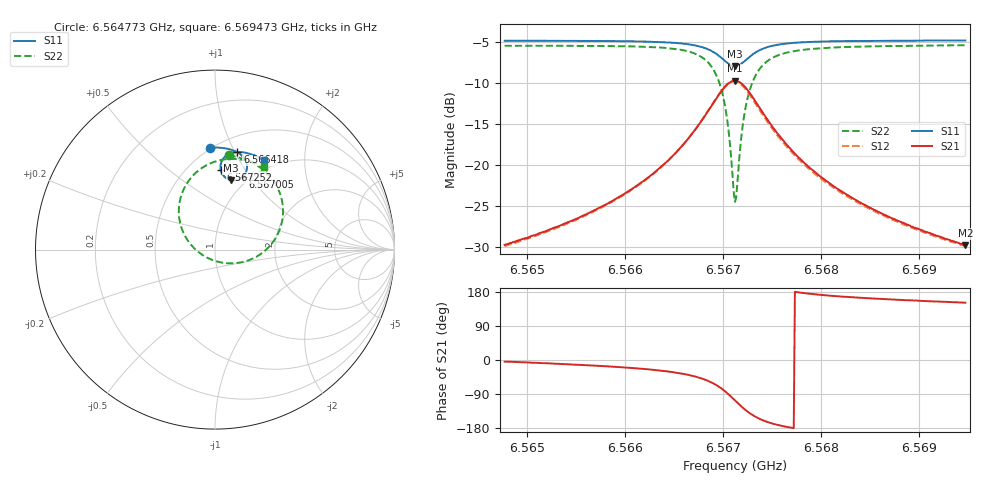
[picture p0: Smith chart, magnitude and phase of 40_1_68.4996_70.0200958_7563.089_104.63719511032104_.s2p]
#  HZ  S  RI  R  50.00
! Rohde & Schwarz Vector Network Analyzer
! Rohde-Schwarz,ZNB20-2Port,1311601062101988,3.16
! Created: UTC 3/20/2024, 4:50:17 PM
! freq[Hz]  re:S11  im:S11  re:S21  im:S21  re:S12  im:S12  re:S22  im:S22
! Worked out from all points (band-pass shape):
!   401 points, 6.564773 GHz to 6.569473 GHz, reference 50 ohm
!   highest |S21| = -9.77 dB at 6.567123 GHz (marker M1); lowest = -29.8 dB at 6.569473 GHz (marker M2)
!   |S21| within 3 dB of the highest: 6.566887 GHz to 6.567357 GHz (470.3 kHz wide, 0.00716 % of centre)
!   lowest |S11| = -8.0 dB at 6.567123 GHz (marker M3), VSWR 2.32, Z = 42.8 + j39.4 ohm
!   |S11| at or under -10 dB: nowhere
!   |S22| runs from -24.5 to -5.4 dB; largest |S21 - S12| = 0.017
!   S11 on the Smith chart (normalised r, x): 6.564773 GHz: 0.49, +0.82; 6.566418 GHz: 0.65, +1.02; 6.567005 GHz: 0.92, +0.93; 6.567252 GHz: 0.71, +0.78; 6.569473 GHz: 0.86, +1.29
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6.564773e9  -0.0291 0.5687  0.0323 -0.00244  0.0318 -0.00294  0.0754 0.5244
6.5655603e9  0.0375 0.5667  0.0473 -0.011  0.0466 -0.0115  0.1568 0.5056
6.5659832e9  0.0772 0.56  0.062 -0.0219  0.0611 -0.0227  0.213 0.4817
6.5663475e9  0.1165 0.5465  0.084 -0.0437  0.0826 -0.0446  0.2778 0.4369
6.566418e9  0.1252 0.5421  0.0896 -0.0509  0.0884 -0.0522  0.2931 0.4223
6.5666529e9  0.156 0.5179  0.1123 -0.093  0.1106 -0.0949  0.351 0.3398
6.5668292e9  0.1766 0.4784  0.1222 -0.1629  0.1189 -0.1666  0.379 0.2048
6.5669349e9  0.1751 0.4382  0.1009 -0.2335  0.0939 -0.2384  0.3411 0.0704
6.5670054e9  0.1568 0.4073  0.0541 -0.286  0.0428 -0.2895  0.2525 -0.0262
6.5670524e9  0.1334 0.3913  0.00284 -0.3113  -0.0117 -0.3118  0.1557 -0.069
6.5670994e9  0.1029 0.3852  -0.0607 -0.3174  -0.0761 -0.3127  0.0399 -0.0728
6.5671229e9  0.0869 0.3872  -0.0933 -0.311  -0.1083 -0.3035  -0.0177 -0.0567
6.5671464e9  0.0717 0.3927  -0.124 -0.2984  -0.1375 -0.2882  -0.0705 -0.0295
6.5672052e9  0.0427 0.4178  -0.1824 -0.2462  -0.1905 -0.2321  -0.1648 0.0717
6.5672522e9  0.0319 0.4431  -0.2058 -0.1963  -0.2093 -0.182  -0.1973 0.1628
6.5673462e9  0.035 0.487  -0.2074 -0.1115  -0.2052 -0.1006  -0.1849 0.3107
6.5674871e9  0.0623 0.5232  -0.1714 -0.0414  -0.1673 -0.0354  -0.1069 0.4281
6.5676516e9  0.0941 0.5391  -0.1317 -0.00798  -0.1285 -0.00488  -0.0248 0.4809
6.5679101e9  0.1331 0.5441  -0.0926 0.00947  -0.0903 0.011  0.0619 0.5036
6.5682391e9  0.1706 0.5397  -0.0653 0.0152  -0.0637 0.016  0.1317 0.5036
6.5686973e9  0.2128 0.5279  -0.0451 0.0164  -0.0441 0.0169  0.1961 0.4905
6.5694728e9  0.2731 0.5016  -0.0284 0.0156  -0.0278 0.0156  0.2722 0.4595
